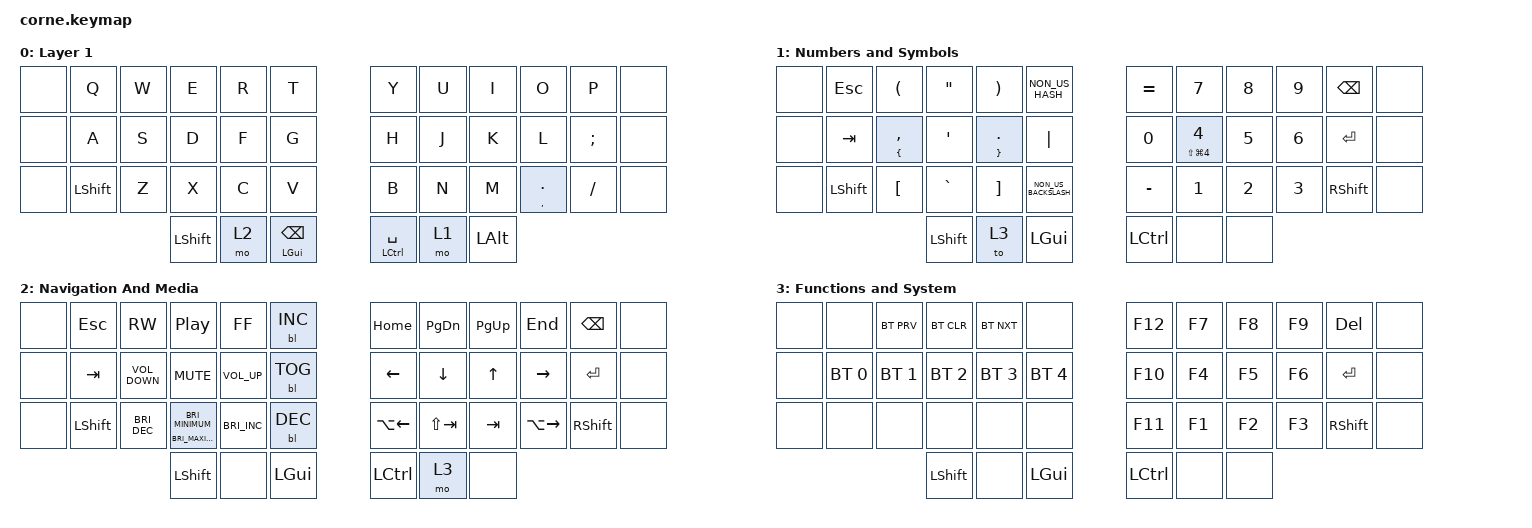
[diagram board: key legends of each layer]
/*
 * Copyright (c) 2020 The ZMK Contributors
 *
 * SPDX-License-Identifier: MIT
 */

#include <behaviors.dtsi>
#include <dt-bindings/zmk/backlight.h>
#include <dt-bindings/zmk/bt.h>
#include <dt-bindings/zmk/keys.h>

/ {
    combos {
        compatible = "zmk,combos";

        space {
            bindings = <&kp SPACE>;
            key-positions = <38 39>;
        };

        delete {
            bindings = <&kp DEL>;
            key-positions = <10 25 40 37>;
            layers = <1 2 3>;
        };

        caps_word {
            bindings = <&caps_word>;
            key-positions = <1 2 3>;
        };
    };

    behaviors {
        hold_tap: hold_tap {
            compatible = "zmk,behavior-hold-tap";
            label = "HOLD_TAP";
            bindings = <&kp>, <&kp>;

            #binding-cells = <2>;
            tapping-term-ms = <350>;
            flavor = "tap-preferred";
        };
    };

    keymap {
        compatible = "zmk,keymap";

        alpha {
            // -----------------------------------------------------------------------------------------
            // |  TAB |  Q  |  W  |  E  |  R  |  T  |   |  Y  |  U   |  I  |  O  |  P  | BKSP |
            // | CTRL |  A  |  S  |  D  |  F  |  G  |   |  H  |  J   |  K  |  L  |  ;  |  '   |
            // | SHFT |  Z  |  X  |  C  |  V  |  B  |   |  N  |  M   |  ,  |  .  |  /  | ESC  |
            //                    | GUI | LWR | SPC |   | ENT | RSE  | ALT |

            bindings = <
&none  &kp Q           &kp W  &kp E           &kp R  &kp T                       &kp Y                  &kp U  &kp I         &kp O             &kp P     &none
&none  &kp A           &kp S  &kp D           &kp F  &kp G                       &kp H                  &kp J  &kp K         &kp L             &kp SEMI  &none
&none  &kp LEFT_SHIFT  &kp Z  &kp X           &kp C  &kp V                       &kp B                  &kp N  &kp M         &mt COMMA PERIOD  &kp FSLH  &none
                              &kp LEFT_SHIFT  &mo 2  &hold_tap LGUI BACKSPACE    &hold_tap LCTRL SPACE  &mo 1  &kp LEFT_ALT
            >;

            label = "Layer 1";
        };

        num_sym {
            // -----------------------------------------------------------------------------------------
            // |  TAB |  1  |  2  |  3  |  4  |  5  |   |  6  |  7  |  8  |  9  |  0  | BKSP |
            // | BTCLR| BT1 | BT2 | BT3 | BT4 | BT5 |   | LFT | DWN |  UP | RGT |     |      |
            // | SHFT |     |     |     |     |     |   |     |     |     |     |     |      |
            //                    | GUI |     | SPC |   | ENT |     | ALT |

            bindings = <
&none  &kp ESCAPE      &kp LEFT_PARENTHESIS  &kp DOUBLE_QUOTES  &kp RIGHT_PARENTHESIS  &kp NON_US_HASH         &kp EQUAL  &kp N7                   &kp N8  &kp N9  &kp BACKSPACE  &none
&none  &kp TAB         &mt LEFT_BRACE COMMA  &kp SINGLE_QUOTE   &mt RIGHT_BRACE DOT    &kp PIPE                &kp N0     &mt LS(LG(NUMBER_4)) N4  &kp N5  &kp N6  &kp ENTER      &none
&none  &kp LEFT_SHIFT  &kp LEFT_BRACKET      &kp GRAVE          &kp RIGHT_BRACKET      &kp NON_US_BACKSLASH    &kp MINUS  &kp NUMBER_1             &kp N2  &kp N3  &kp RSHFT      &none
                                             &kp LSHFT          &to 3                  &kp LGUI                &kp LCTRL  &none                    &none
            >;

            label = "Numbers and Symbols";
        };

        nav_media {
            bindings = <
&none  &kp ESC         &kp C_RW              &kp C_PLAY_PAUSE                               &kp C_FF              &bl BL_INC    &kp HOME            &kp PAGE_DOWN  &kp PG_UP     &kp END              &kp BACKSPACE    &none
&none  &kp TAB         &kp C_VOLUME_DOWN     &kp C_MUTE                                     &kp C_VOLUME_UP       &bl BL_TOG    &kp LEFT            &kp DOWN       &kp UP_ARROW  &kp RIGHT            &kp RET          &none
&none  &kp LEFT_SHIFT  &kp C_BRIGHTNESS_DEC  &mt C_BRIGHTNESS_MAXIMUM C_BRIGHTNESS_MINIMUM  &kp C_BRIGHTNESS_INC  &bl BL_DEC    &kp LA(LEFT_ARROW)  &kp LS(TAB)    &kp TAB       &kp LA(RIGHT_ARROW)  &kp RIGHT_SHIFT  &none
                                             &kp LSHFT                                      &none                 &kp LGUI      &kp LCTRL           &mo 3          &none
            >;

            label = "Navigation And Media";
        };

        fn {
            bindings = <
&none  &none         &bt BT_PRV    &bt BT_CLR    &bt BT_NXT    &none           &kp F12    &kp F7  &kp F8  &kp F9  &kp DEL    &none
&none  &bt BT_SEL 0  &bt BT_SEL 1  &bt BT_SEL 2  &bt BT_SEL 3  &bt BT_SEL 4    &kp F10    &kp F4  &kp F5  &kp F6  &kp ENTER  &none
&none  &none         &none         &none         &none         &none           &kp F11    &kp F1  &kp F2  &kp F3  &kp RSHFT  &none
                                   &kp LSHFT     &none         &kp LGUI        &kp LCTRL  &none   &none
            >;

            label = "Functions and System";
        };
    };

    conditional_layers {
        compatible = "zmk,conditional-layers";
    };
};
